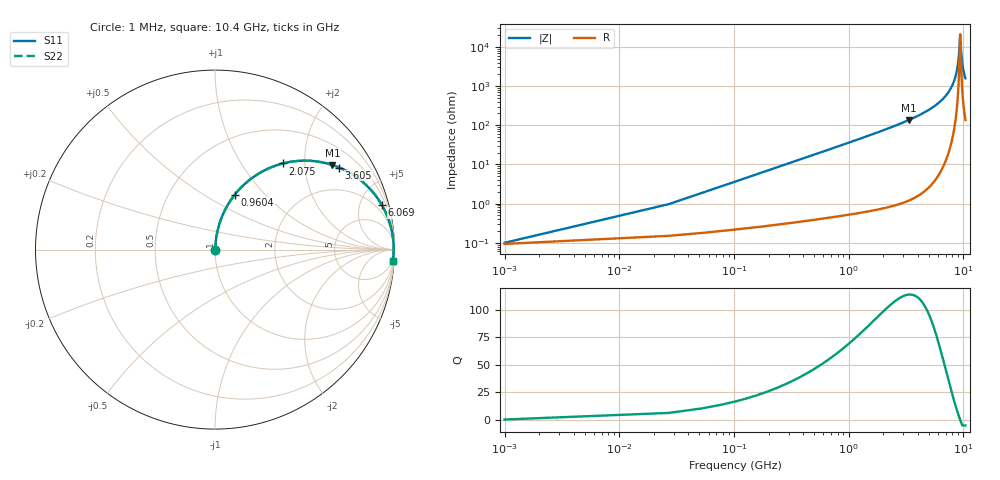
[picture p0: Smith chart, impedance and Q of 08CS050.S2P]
! Coilcraft 0805CS-050 Chip Inductor
! 11 June 2002
# MHZ S MA R 50
!Freq  MagS11  AngS11  MagS21  AngS21  MagS12  AngS12  MagS22  AngS22
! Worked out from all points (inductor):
!   403 points, 1 MHz to 10.4 GHz, reference 50 ohm
!   read as one part in series: L = 5.66 nH near 52.86 MHz
!   highest Q = 114 at 3.372 GHz (marker M1), where L = 6.5 nH
!   self-resonance near 9.362 GHz
!   S11 on the Smith chart (normalised r, x): 1 MHz: 1.00, +0.00; 960.4 MHz: 1.01, +0.69; 2.075 GHz: 1.02, +1.55; 3.605 GHz: 1.03, +3.01; 6.069 GHz: 1.11, +7.44; 10.4 GHz: 4, -32
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1  0.001 20.8  0.9991 -0.0  0.9991 -0.0  0.001 20.8
78.79  0.02803 84.3  0.9976 -1.6  0.9976 -1.6  0.02803 84.3
130.65  0.04637 84.4  0.9966 -2.7  0.9966 -2.7  0.04637 84.4
208.44  0.07381 83.6  0.9945 -4.2  0.9945 -4.2  0.07381 83.6
493.67  0.1728 78.8  0.9812 -9.9  0.9812 -9.9  0.1728 78.8
960.41  0.3248 70.2  0.941 -19.0  0.941 -19.0  0.3248 70.2
1738.31  0.5366 56.9  0.8381 -32.4  0.8381 -32.4  0.5366 56.9
2075.4  0.6102 51.8  0.7862 -37.6  0.7862 -37.6  0.6102 51.8
3371.9  0.8059 35.8  0.585 -53.7  0.585 -53.7  0.8059 35.8
3475.62  0.8168 34.7  0.5698 -54.8  0.5698 -54.8  0.8168 34.7
3605.27  0.8296 33.4  0.5512 -56.0  0.5512 -56.0  0.8296 33.4
5212.93  0.9338 20.3  0.3477 -69.0  0.3477 -69.0  0.9338 20.3
6068.62  0.9622 15.0  0.2588 -74.2  0.2588 -74.2  0.9622 15.0
6950.24  0.9802 10.3  0.1783 -78.5  0.1783 -78.5  0.9802 10.3
7987.44  0.9914 5.5  0.09537 -82.1  0.09537 -82.1  0.9914 5.5
8687.55  0.9946 2.6  0.04528 -81.8  0.04528 -81.8  0.9946 2.6
9050.57  0.9952 1.2  0.02111 -76.3  0.02111 -76.3  0.9952 1.2
9361.73  0.9952 0.0  0.004781 -4.9  0.004781 -4.9  0.9952 0.0
9413.59  0.9952 -0.2  0.005597 30.9  0.005597 30.9  0.9952 -0.2
9595.1  0.995 -0.8  0.01511 70.3  0.01511 70.3  0.995 -0.8
9776.61  0.9947 -1.5  0.02597 77.4  0.02597 77.4  0.9947 -1.5
10400  0.9926 -3.6  0.0626 81.5  0.0626 81.5  0.9926 -3.6
